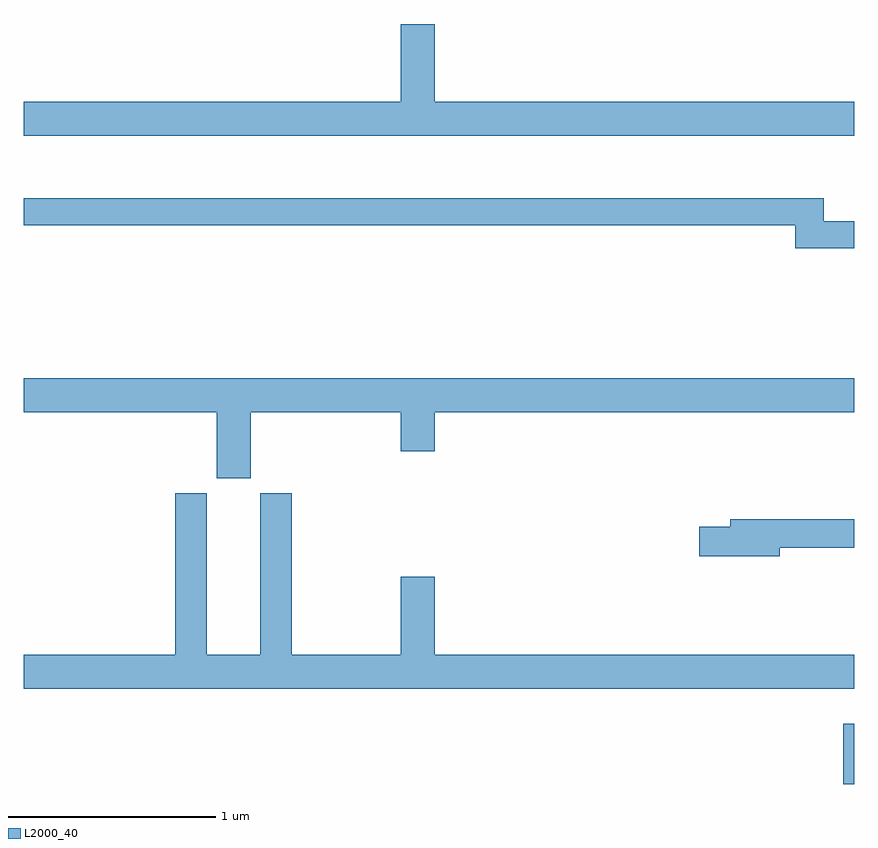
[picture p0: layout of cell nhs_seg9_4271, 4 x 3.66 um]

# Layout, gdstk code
import gdstk
lib = gdstk.Library(unit=1e-6, precision=1e-09)
def R(c, l, rs):  # rectangles x0, y0, x1, y1
    for r in rs: c.add(gdstk.rectangle(r[:2], r[2:], *l))
def P(c, l, *ps):  # polygons
    for p in ps: c.add(gdstk.Polygon(p, *l))
L2000_40 = (2000, 40)

nhs_seg9_4271 = lib.new_cell('nhs_seg9_4271')
R(nhs_seg9_4271, L2000_40, [(358.949,1214.609,359,1214.899)])
P(nhs_seg9_4271, L2000_40, [(359,1217.896),(356.98,1217.896),(356.98,1218.271),(356.816,1218.271),(356.816,1217.896),(355,1217.896),(355,1217.732),(359,1217.732)],
  [(359,1217.32),(358.853,1217.32),(358.853,1217.431),(355,1217.431),(355,1217.302),(358.717,1217.302),(358.717,1217.191),(359,1217.191)],
  [(356.092,1216.4),(356.816,1216.4),(356.816,1216.212),(356.98,1216.212),(356.98,1216.4),(359,1216.4),(359,1216.564),(355,1216.564),(355,1216.4),(355.928,1216.4),(355.928,1216.083),(356.092,1216.083)],
  [(359,1215.232),(356.98,1215.232),(356.98,1215.607),(356.816,1215.607),(356.816,1215.232),(356.291,1215.232),(356.291,1216.011),(356.138,1216.011),(356.138,1215.232),(355.882,1215.232),(355.882,1216.011),(355.73,1216.011),(355.73,1215.232),(355,1215.232),(355,1215.068),(359,1215.068)],
  [(358.642,1215.748),(359,1215.748),(359,1215.884),(358.403,1215.884),(358.403,1215.848),(358.254,1215.848),(358.254,1215.706),(358.642,1215.706)])

lib.write_gds('nhs_seg9_4271.gds')
